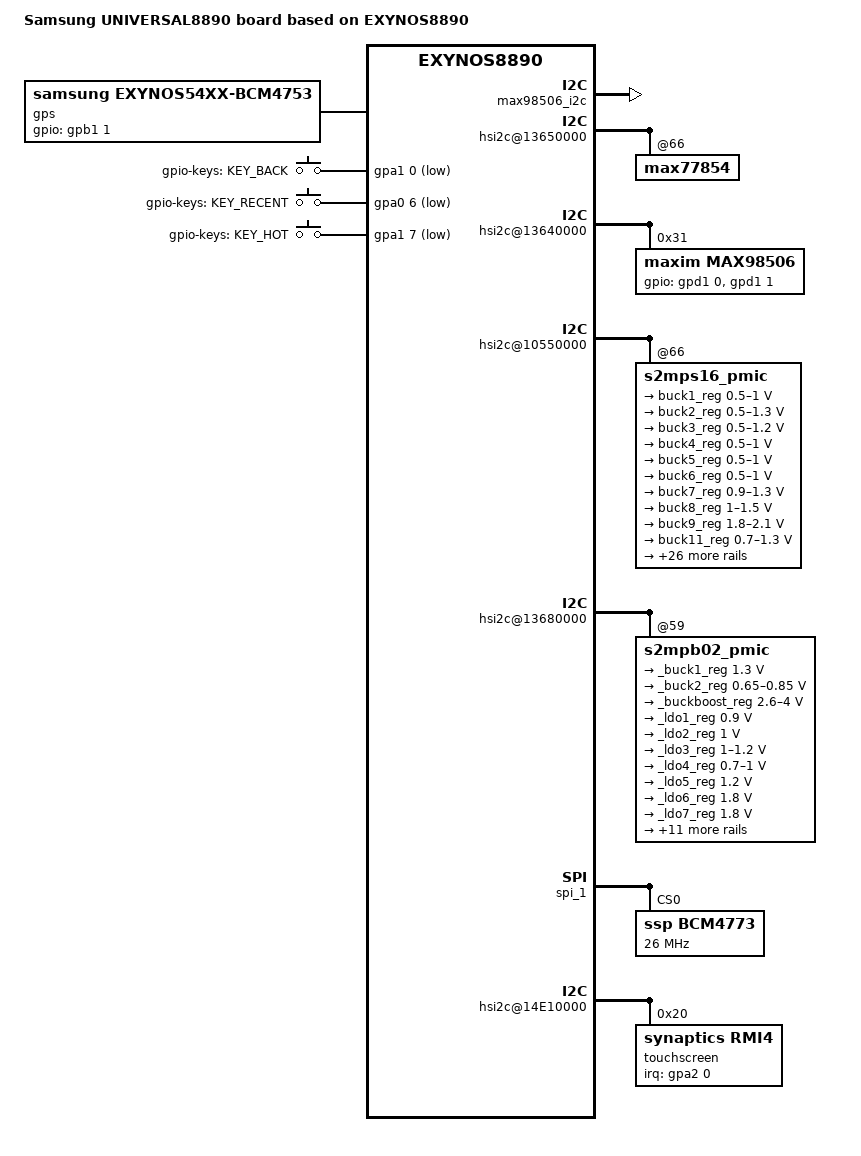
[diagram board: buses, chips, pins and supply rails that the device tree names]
/*
 * SAMSUNG UNIVERSAL8890 board device tree source
 *
 * Copyright (c) 2013 Samsung Electronics Co., Ltd.
 *		http://www.samsung.com
 *
 * This program is free software; you can redistribute it and/or modify
 * it under the terms of the GNU General Public License version 2 as
 * published by the Free Software Foundation.
*/

/dts-v1/;
#include "exynos8890-herolte_common.dtsi"
#include "exynos8890-herolte_kor_gpio_02.dtsi"
#include "exynos8890-pslte_battery_kor_00.dtsi"
#include "exynos8890-sound-cs47l91.dtsi"
#include "exynos8890-luckylte_mst.dtsi"
#include "exynos8890-herolte_fingerprint-sensor_00.dtsi"
#include "exynos8890-herolte_kor-tdmb-00.dtsi"
/ {
	model = "Samsung UNIVERSAL8890 board based on EXYNOS8890";
	model_info-chip = <8890>;
	model_info-platform = "android";
	model_info-subtype = "samsung";
	model_info-hw_rev = <0>;
	model_info-hw_rev_end = <255>;
	compatible = "samsung,exynos8890", "samsung,UNIVERSAL8890";

	audio_pdata {
		compatible = "samsung,audio-pdata";
		seamless_voicewakeup;
		status = "okay";
	};

	pinctrl@10580000 {
		codec_irq: codec-irq {
			samsung,pins = "gpa2-6";
			samsung,pin-function = <0xf>;
			samsung,pin-pud = <0>;
		};
		max98506_ctrl: max98506-ctl {
			samsung,pins ="gpa2-2";
			samsung,pin-function = <0>;
			samsung,pin-pud = <0>;
			samsung,pin-con-pdn =<2>;
			samsung,pin-pud-pdn = <0>;
		};
	};

	pinctrl@136D0000 {
		max98506_i2c: max98506-i2c {
			samsung,pins = "gpd1-0", "gpd1-1";
			samsung,pin-pud = <0>;
			status = "okay";
		};
	};

	pinctrl@14CC0000 {
		codec_reset: codec-reset {
			samsung,pins ="gpe6-5";
			samsung,pin-function = <1>;
			samsung,pin-pud = <1>;
			samsung,pin-con-pdn =<3>;
			samsung,pin-pud-pdn = <1>;
			samsung,pin-val = <0>;
		};

		audio_clk_sel: audio-clk-sel {
			samsung,pins ="gpe0-5";
			samsung,pin-function = <1>;
			samsung,pin-pud = <1>;
			samsung,pin-con-pdn =<3>;
			samsung,pin-pud-pdn = <1>;
			samsung,pin-val = <0>;
		};
	};

	hsi2c@13650000 {
		status = "okay";

		max77854@66 {
			status = "okay";
		};
	};

	hsi2c@13640000 {
		status = "okay";
		max98506@31 {
			compatible = "maxim,max98506";
			reg = <0x31>;
			pinctrl-names = "default";
			pinctrl-0 = <&max98506_i2c &max98506_ctrl>;
			gpios = <&gpd1 0 0
				&gpd1 1 0
				>;
			i2c-gpio,delay-us = <2>;
			maxim,platform_type = <0>;
			maxim,spk-gain = <0x14>;
			maxim,sysclk = <12288000>;
			maxim,vmon_slot = <0>;
			maxim,platform_info = <0 0x4000 0x0F010203 0x0FF10203 0x00000000 40>;
			maxim,boost_step = <
						0x0F 0x0F 0x0F 0x0F
						0x0F 0x0F 0x0F 0x0F
						0x0F 0x0F 0x0F 0x0F
						0x0F 0x0F 0x02 0x00
						>;
			maxim,adc_threshold = <7>;
			maxim,registers-of-amp =
				<0x1F 0x00>,
				<0x21 0xC0>,
				<0x2F 0x00>;
			maxim,sub_reg = <0x34>;
			maxim,interleave= <1>;
		};
	};

	hsi2c@10550000 {
		s2mps16_pmic@66 {
			regulators {
				buck1_reg: BUCK1 {
					regulator-name = "vdd_mif";
					regulator-min-microvolt = <500000>;
					regulator-max-microvolt = <1000000>;
					regulator-always-on;
					regulator-ramp-delay = <11000>;
					regulator-initial-mode = <2>; /* controlled by PWREN_MIF */
				};

				buck2_reg: BUCK2 {
					regulator-name = "vdd_mngs";
					regulator-min-microvolt = <500000>;
					regulator-max-microvolt = <1300000>;
					regulator-always-on;
					regulator-ramp-delay = <11000>;
					regulator-initial-mode = <1>;
				};

				buck3_reg: BUCK3 {
					regulator-name = "vdd_apollo";
					regulator-min-microvolt = <500000>;
					regulator-max-microvolt = <1200000>;
					regulator-always-on;
					regulator-ramp-delay = <11000>;
					regulator-initial-mode = <1>;
				};

				buck4_reg: BUCK4 {
					regulator-name = "vdd_int";
					regulator-min-microvolt = <500000>;
					regulator-max-microvolt = <1000000>;
					regulator-always-on;
					regulator-ramp-delay = <12000>;
					regulator-initial-mode = <2>; /* controlled by PWREN_MIF */
				};

				buck5_reg: BUCK5 {
					regulator-name = "vdd_dispcam";
					regulator-min-microvolt = <500000>;
					regulator-max-microvolt = <1000000>;
					regulator-always-on;
					regulator-ramp-delay = <12000>;
					regulator-initial-mode = <2>; /* controlled by PWREN_MIF */
				};

				buck6_reg: BUCK6 {
					regulator-name = "vdd_g3d";
					regulator-min-microvolt = <500000>;
					regulator-max-microvolt = <1000000>;
					regulator-always-on;
					regulator-ramp-delay = <12000>;
					regulator-initial-mode = <1>;
				};

				buck7_reg: BUCK7 {
					regulator-name = "vdd_mem";
					regulator-min-microvolt = <900000>;
					regulator-max-microvolt = <1300000>;
					regulator-always-on;
					regulator-ramp-delay = <12000>;
					regulator-initial-mode = <3>;
				};

				buck8_reg: BUCK8 {
					regulator-name = "vdd_lldo";
					regulator-min-microvolt = <1000000>;
					regulator-max-microvolt = <1500000>;
					regulator-always-on;
					regulator-ramp-delay = <12000>;
					regulator-initial-mode = <3>;
				};

				buck9_reg: BUCK9 {
					regulator-name = "vdd_mldo";
					regulator-min-microvolt = <1800000>;
					regulator-max-microvolt = <2100000>;
					regulator-always-on;
					regulator-ramp-delay = <12000>;
					regulator-initial-mode = <3>;
				};

				buck11_reg: BUCK11 {
					regulator-name = "vdd_extra";
					regulator-min-microvolt = <700000>;
					regulator-max-microvolt = <1300000>;
					regulator-always-on;
					regulator-ramp-delay = <12000>;
					regulator-initial-mode = <1>;
				};

				ldo1_reg: LDO1 {
					regulator-name = "vdd_ldo1";
					regulator-min-microvolt = <500000>;
					regulator-max-microvolt = <900000>;
					regulator-ramp-delay = <12000>;
					regulator-initial-mode = <3>;
					regulator-always-on;
				};

				ldo2_reg: LDO2 {
					regulator-name = "vqmmc";
					regulator-min-microvolt = <1800000>;
					regulator-max-microvolt = <3375000>;
					regulator-ramp-delay = <12000>;
					regulator-initial-mode = <1>;
					regulator-always-on;
				};

				ldo3_reg: LDO3 {
					regulator-name = "vdd_ldo3";
					regulator-min-microvolt = <1620000>;
					regulator-max-microvolt = <1980000>;
					regulator-ramp-delay = <12000>;
					regulator-initial-mode = <3>;
					regulator-always-on;
				};

				ldo4_reg: LDO4 {
					regulator-name = "vdd_ldo4";
					regulator-min-microvolt = <800000>;
					regulator-max-microvolt = <1110000>;
					regulator-ramp-delay = <12000>;
					regulator-initial-mode = <1>;
					regulator-always-on;
				};

				ldo5_reg: LDO5 {
					regulator-name = "vdd_ldo5";
					regulator-min-microvolt = <1625000>;
					regulator-max-microvolt = <1975000>;
					regulator-ramp-delay = <12000>;
					regulator-always-on;
					regulator-initial-mode = <1>;
				};

				ldo6_reg: LDO6 {
					regulator-name = "vdd_ldo6";
					regulator-min-microvolt = <2250000>;
					regulator-max-microvolt = <3300000>;
					regulator-ramp-delay = <12000>;
					regulator-always-on;
					regulator-initial-mode = <1>;
				};

				ldo7_reg: LDO7 {
					regulator-name = "vdd_ldo7";
					regulator-min-microvolt = <700000>;
					regulator-max-microvolt = <1200000>;
					regulator-ramp-delay = <12000>;
					regulator-always-on;
					regulator-initial-mode = <1>;
				};

				ldo8_reg: LDO8 {
					regulator-name = "vdd_ldo8";
					regulator-min-microvolt = <700000>;
					regulator-max-microvolt = <1000000>;
					regulator-ramp-delay = <12000>;
					regulator-always-on;
					regulator-initial-mode = <1>;
				};

				ldo9_reg: LDO9 {
					regulator-name = "vdd_ldo9";
					regulator-min-microvolt = <700000>;
					regulator-max-microvolt = <1000000>;
					regulator-ramp-delay = <12000>;
					regulator-always-on;
					regulator-initial-mode = <1>;
				};

				ldo10_reg: LDO10 {
					regulator-name = "vdd_ldo10";
					regulator-min-microvolt = <700000>;
					regulator-max-microvolt = <1200000>;
					regulator-ramp-delay = <12000>;
					regulator-always-on;
					regulator-initial-mode = <1>;
				};

				ldo11_reg: LDO11 {
					regulator-name = "vdd_ldo11";
					regulator-min-microvolt = <700000>;
					regulator-max-microvolt = <1000000>;
					regulator-ramp-delay = <12000>;
					regulator-always-on;
					regulator-initial-mode = <1>;
				};

				ldo12_reg: LDO12 {
					regulator-name = "vdd_ldo12";
					regulator-min-microvolt = <1000000>;
					regulator-max-microvolt = <1300000>;
					regulator-ramp-delay = <12000>;
					regulator-always-on;
					regulator-initial-mode = <1>;
				};

				ldo13_reg: LDO13 {
					regulator-name = "vdd_ldo13";
					regulator-min-microvolt = <1000000>;
					regulator-max-microvolt = <1300000>;
					regulator-ramp-delay = <12000>;
					regulator-always-on;
					regulator-initial-mode = <1>;
				};

				ldo25_reg: LDO25 {
					regulator-name = "vdd_ldo25";
					regulator-min-microvolt = <700000>;
					regulator-max-microvolt = <1000000>;
					regulator-ramp-delay = <12000>;
					regulator-boot-on;
					regulator-always-on;
					regulator-initial-mode = <1>;
				};

				ldo26_reg: LDO26 {
					regulator-name = "vdd_ldo26";
					regulator-min-microvolt = <1000000>;
					regulator-max-microvolt = <1200000>;
					regulator-ramp-delay = <12000>;
				};

				ldo27_reg: LDO27 {
					regulator-name = "vdd_ldo27";
					regulator-min-microvolt = <1200000>;
					regulator-max-microvolt = <1200000>;
					regulator-ramp-delay = <12000>;
					regulator-boot-on;
					regulator-always-on;
					regulator-initial-mode = <1>;
				};

				ldo28_reg: LDO28 {
					regulator-name = "vdd_ldo28";
					regulator-min-microvolt = <2800000>;
					regulator-max-microvolt = <2800000>;
					regulator-always-on;
					regulator-boot-on;
					regulator-initial-mode = <3>;
				};

				ldo29_reg: LDO29 {
					regulator-name = "vdd_ldo29";
					regulator-min-microvolt = <3300000>;
					regulator-max-microvolt = <3300000>;
				};

				ldo30_reg: LDO30 {
					regulator-name = "VDD_1.8V_CODEC_PMIC";
					regulator-min-microvolt = <1800000>;
					regulator-max-microvolt = <1800000>;
					regulator-boot-on;
					regulator-always-on;
					regulator-initial-mode = <3>;
				};

				ldo31_reg: LDO31 {
					regulator-name = "VDD_1.2V_CODEC";
					regulator-min-microvolt = <1200000>;
					regulator-max-microvolt = <1200000>;
				};

				ldo32_reg: LDO32 {
					regulator-name = "tsp_io";
					regulator-min-microvolt = <1850000>;
					regulator-max-microvolt = <1850000>;
				};

				ldo33_reg: LDO33 {
					regulator-name = "tsp_avdd";
					regulator-min-microvolt = <3300000>;
					regulator-max-microvolt = <3300000>;
				};

				ldo34_reg: LDO34 {
					regulator-name = "VDD_MOT_3.3V";
					regulator-min-microvolt = <3300000>;
					regulator-max-microvolt = <3300000>;
				};

				ldo35_reg: LDO35 {
					regulator-name = "vdd_3p0_ddi";
					regulator-min-microvolt = <3000000>;
					regulator-max-microvolt = <3000000>;
				};

				ldo36_reg: LDO36 {
					regulator-name = "vdd_1p8_ddi";
					regulator-min-microvolt = <1800000>;
					regulator-max-microvolt = <1800000>;
				};

				ldo37_reg: LDO37 {
					regulator-name = "VDD_NFC_1P8";
					regulator-min-microvolt = <1800000>;
					regulator-max-microvolt = <1800000>;
				};
			};
		};
	};

	decon_f: decon_f@0x13960000 {
		/* EINT for TE */
		gpios = <&gpb0 0 0xf>, <&gpe3 1 0xf>;
		gpio_err = <&gpi2 5 0>;
		/delete-property/ gpio_det;
//		gpio_det = <&gpi2 1 0>;
		te_eint {
			/* NWEINT_GPB0_PEND(GPB0_0), NWEINT_GPB0_MASK(GPB0_0) */
			reg = <0x0 0x136D0A1C 0x4>, <0x0 0x136D091C 0x4>;
		};
	};

	dsim_0: dsim@0x13900000 {
		lcd_info = <&s6e3fa2>;
		/* lcd reset, power */
		gpios = <&gpi2 0 0x1>, <&gpd0 4 0x1>;
		regulator_30V = "vdd_3p0_ddi";
		regulator_18V = "vdd_1p8_ddi";
	};

	hsi2c@13680000 {
		s2mpb02_pmic@59 {
			regulators {
				_buck1_reg: s2mpb02-buck1 {
					regulator-name = "VDD_1P3_EXT";
					regulator-min-microvolt = <1300000>;
					regulator-max-microvolt = <1300000>;
					regulator-always-on;
					regulator-boot-on;
				};

				_buck2_reg: s2mpb02-buck2 {
					regulator-name = "VDDD_CORE_0.8V_COMP";
					regulator-min-microvolt = <650000>;
					regulator-max-microvolt = <850000>;
				};

				_buckboost_reg: s2mpb02-bb {
					regulator-min-microvolt = <2600000>;
					regulator-max-microvolt = <4000000>;
					regulator-always-on;
					regulator-boot-on;
				};

				_ldo1_reg: s2mpb02-ldo1 {
					regulator-name = "VDDD_NORET_0.9V_COMP";
					regulator-min-microvolt = <900000>;
					regulator-max-microvolt = <900000>;
				};

				_ldo2_reg: s2mpb02-ldo2 {
					regulator-name = "VDDD_CORE_1.0V_COMP";
					regulator-min-microvolt = <1000000>;
					regulator-max-microvolt = <1000000>;
				};

				_ldo3_reg: s2mpb02-ldo3 {
					regulator-name = "VDDD_1.2V_CAM";
					regulator-min-microvolt = <1000000>;
					regulator-max-microvolt = <1200000>;
				};

				_ldo4_reg: s2mpb02-ldo4 {
					regulator-name = "VDDD_RET_1.0V_COMP";
					regulator-min-microvolt = <700000>;
					regulator-max-microvolt = <1000000>;
				};

				_ldo5_reg: s2mpb02-ldo5 {
					regulator-name = "VDDD_1.2V_VT";
					regulator-min-microvolt = <1200000>;
					regulator-max-microvolt = <1200000>;
				};

				_ldo6_reg: s2mpb02-ldo6 {
					regulator-name = "VDDIO_1.8V_VT";
					regulator-min-microvolt = <1800000>;
					regulator-max-microvolt = <1800000>;
				};

				_ldo7_reg: s2mpb02-ldo7 {
					regulator-name = "VDDIO_1.8V_CAM";
					regulator-min-microvolt = <1800000>;
					regulator-max-microvolt = <1800000>;
				};

				_ldo8_reg: s2mpb02-ldo8 {
					regulator-name = "VDDIO_1.8V_COMP";
					regulator-min-microvolt = <1800000>;
					regulator-max-microvolt = <1800000>;
				};

				_ldo9_reg: s2mpb02-ldo9 {
					regulator-name = "VDDA_1.8V_COMP";
					regulator-min-microvolt = <1800000>;
					regulator-max-microvolt = <1800000>;
				};

				_ldo10_reg: s2mpb02-ldo10 {
					regulator-name = "VDDA_1.8V_CAM";
					regulator-min-microvolt = <1800000>;
					regulator-max-microvolt = <1800000>;
				};

				_ldo11_reg: s2mpb02-ldo11 {
					regulator-name = "VDDA_2.9V_CAM";
					regulator-min-microvolt = <1000000>;
					regulator-max-microvolt = <2950000>;
				};

				_ldo12_reg: s2mpb02-ldo12 {
					regulator-name = "VDDAF_2.8V_CAM";
					regulator-min-microvolt = <2800000>;
					regulator-max-microvolt = <2800000>;
				};

				_ldo13_reg: s2mpb02-ldo13 {
					regulator-name = "VDDA_2.9V_VT";
					regulator-min-microvolt = <2900000>;
					regulator-max-microvolt = <2900000>;
				};

				_ldo14_reg: s2mpb02-ldo14 {
					regulator-name = "OIS_VM_2.8V";
					regulator-min-microvolt = <2800000>;
					regulator-max-microvolt = <2800000>;
				};

				_ldo15_reg: s2mpb02-ldo15 {
					regulator-name = "OIS_VDD_2.8V";
					regulator-min-microvolt = <2800000>;
					regulator-max-microvolt = <2800000>;
				};

				_ldo16_reg: s2mpb02-ldo16 {
					regulator-name = "TOUCH_VDD_3.3V";
					regulator-min-microvolt = <3300000>;
					regulator-max-microvolt = <3300000>;
					regulator-boot-on;
				};

				_ldo17_reg: s2mpb02-ldo17 {
					regulator-name = "OIS_VDD_1.8V";
					regulator-min-microvolt = <1800000>;
					regulator-max-microvolt = <1800000>;
				};

				_ldo18_reg: s2mpb02-ldo18 {
					regulator-name = "vmmc";
					regulator-min-microvolt = <1800000>;
					regulator-max-microvolt = <3375000>;
				};
			};

			torch {
				torch1-gpio = "gpc0-3";
				flash1-gpio = "gpc0-2";

				status = "okay";

				leds1 {
					ledname = "leds-sec1";
					id = <0>;
					brightness = <0xC>;
					timeout = <0x3>;
				};

				leds2 {
					ledname = "torch-sec1";
					id = <1>;
					brightness = <0xC>;
					timeout = <0xF>;
				};
			};
		};
	};

	hsi2c@13690000 {
		status = "disable";
	};

	sound {
		pinctrl-names = "default";
		pinctrl-0 = <&audio_clk_sel>;
	};

	spi_1: spi@14d30000 {
		#address-cells = <1>;
		#size-cells = <0>;

		pinctrl-names = "default";
		pinctrl-0 = <&spi1_mosi_sck_ssn &spi1_miso>;

		num-cs = <1>;
		status = "okay";

		BCM4773@0 {
			compatible = "ssp,BCM4773";
			reg = <0>;
			spi-max-frequency = <26000000>;
			spi-cpol;
			spi-cpha;
			pinctrl-names = "default";
			pinctrl-0 = <&ssp_host_req &ssp_mcu_req &ssp_mcu_resp &ssp_batch_wake_irq>;

			gpio-controller;
			#gpio-cells = <2>;
			ssp-host-req = <&gpa3 4 0x00>;
			ssp-mcu-req = <&gpe6 4 0x00>;
			ssp-mcu-resp = <&gpg0 2 0x00>;
			ssp-batch-wake-irq = <&gpa3 1 0x00>;
			ssp-acc-position = <7>;
			ssp-mag-position = <0>;
			ssp-sns-combination = <0>;
			ssp,prox-hi_thresh = <2000>;
			ssp,prox-low_thresh = <1400>;
			ssp-ap-rev = <1>;
			ssp-mag-array = <9930 866 (-228) 263 9197 121 (-135) 387 10378>;
			ssp-glass-type = <1>;

			controller-data {
				cs-gpio = <&gpe2 5 0>;
				samsung,spi-feedback-delay = <0>;
				};
			};
	};

	gps {
		compatible = "samsung,exynos54xx-bcm4753";

		pinctrl-names = "default";
		pinctrl-0 = <&ssp_gps_pwr_en>;

		gpios = <&gpb1 1 0x0
				>;
		status = "okay";
	};

	pinctrl@10580000 {
		key_volup: key-volup {
			samsung,pins = "gpa0-3";
			samsung,pin-function = <0xf>;
			samsung,pin-pud = <3>;
			samsung,pin-drv = <0>;
		};

		key_voldown: key-voldown {
			samsung,pins = "gpa0-4";
			samsung,pin-function = <0xf>;
			samsung,pin-pud = <3>;
			samsung,pin-drv = <0>;
		};

		key_home: key-home {
			samsung,pins = "gpa0-5";
			samsung,pin-function = <0xf>;
			samsung,pin-pud = <0>;
			samsung,pin-drv = <0>;
		};

		key_hot: key-hot {
			samsung,pins = "gpa1-7";
			samsung,pin-function = <0xf>;
			samsung,pin-pud = <3>;
			samsung,pin-drv = <0>;
		};
};

	gpio_keys {
		pinctrl-names = "default";
		pinctrl-0 = <&key_power &key_voldown &key_volup &key_home>;
		button@5 {
			label = "gpio-keys: KEY_BACK";
			interrupts = <0 0 0>;
			interrupt-parent = <&gpa1>;
			linux,code = <158>;
			gpios = <&gpa1 0 0xf>;
		};
		button@6 {
			label = "gpio-keys: KEY_RECENT";
			interrupts = <6 0 0>;
			interrupt-parent = <&gpa0>;
			linux,code = <254>;
			gpios = <&gpa0 6 0xf>;
		};
		button@7 {
			label = "gpio-keys: KEY_HOT";
			interrupts = <7 0 0>;
			interrupt-parent = <&gpa1>;
			linux,code = <252>;
			gpios = <&gpa1 7 0xf>;
			gpio-key,wakeup = <1>;
		};
	};

	pinctrl@14CC0000 {
		tsp_id: tsp-id {
		samsung,pins = "gpe7-1";
		samsung,pin-function = <0x0>;
		samsung,pin-pud = <0>;
		samsung,pin-drv = <0>;
		};
	};

	hsi2c@14E10000 {
		touchscreen@48{
			status = "disabled";
		};
	};

	hsi2c@14E10000 {
		touchscreen@49{
			status = "disabled";
		};
	};

	hsi2c@14E10000 {
		status = "okay";
		touchscreen@20 {
			compatible = "synaptics,rmi4";
			reg = <0x20>;
			pinctrl-names = "on_state", "off_state";	//, "sleep_state";
			pinctrl-0 = <&attn_irq &tsp_id>;
			pinctrl-1 = <&attn_input>;	// &i2c_pdn_off
//			pinctrl-2 = <&attn_irq &i2c_pdn_sleep>;
			synaptics,irq_gpio = <&gpa2 0 0>;
			synaptics,irq_type = <8200>;
			synaptics,max_coords = <1079 1919>;	/* x y */
			synaptics,num_lines = <28 16>;		/* rx tx */
			synaptics,regulator_dvdd = "tsp_io";
			synaptics,regulator_avdd = "tsp_avdd";
			synaptics,project_name = "PS-LTE", "G880";
			synaptics,firmware_name = "tsp_synaptics/synaptics_s5100_haechi.fw";
		};
	};

	i2c@20{
		touchkey@20 {
			status = "disabled";
		};
	};

	pinctrl@14CC0000 {
		tflash_en: tfalsh-en {
			samsung,pins = "gpe0-5";
			samsung,pin-pud = <0>;
		};
	};
};
